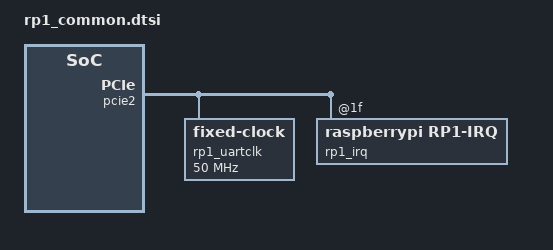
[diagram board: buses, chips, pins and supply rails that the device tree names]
/*
 * Copyright The Zephyr Project Contributors
 *
 * SPDX-License-Identifier: Apache-2.0
 */

#include <zephyr/dt-bindings/interrupt-controller/rp1-irq.h>

&pcie2 {
	rp1 {
		#address-cells = <2>;
		#size-cells = <1>;

		rp1_uartclk: uartclk {
			compatible = "fixed-clock";
			clock-frequency = <50000000>;
			#clock-cells = <0>;
		};

		rp1_irq: interrupt-controller@1f00108000 {
			compatible = "raspberrypi,rp1-irq";
			reg = <0x1f 0x108000 0x1000>;
			interrupt-controller;
			#interrupt-cells = <3>;
			msi-parent = <&mip0>;
		};

		rp1_pinctrl: pinctrl@1f000d0000 {
			compatible = "raspberrypi,rp1-pinctrl";
			reg = <0x1f 0xd0000 0x128>,
			      <0x1f 0xf0004 0x70>;
			reg-names = "gpio", "pads";
			#address-cells = <1>;
			#size-cells = <0>;
			status = "okay";

			gpio0_0: gpio@0 {
				compatible = "raspberrypi,rp1-gpio";
				reg = <0x0 0x10000 0x20000>;
				#gpio-cells = <2>;
				gpio-controller;
				ngpios = <28>;
				status = "disabled";
			};

			gpio0_1: gpio@4000 {
				compatible = "raspberrypi,rp1-gpio";
				reg = <0x4000 0x14000 0x24000>;
				#gpio-cells = <2>;
				gpio-controller;
				ngpios = <6>;
				status = "disabled";
			};

			gpio0_2: gpio@8000 {
				compatible = "raspberrypi,rp1-gpio";
				reg = <0x8000 0x18000 0x28000>;
				#gpio-cells = <2>;
				gpio-controller;
				ngpios = <20>;
				status = "disabled";
			};
		};

		rp1_uart0: serial@1f00030000 {
			compatible = "arm,pl011";
			reg = <0x1f 0x30000 0x100>;
			interrupt-parent = <&rp1_irq>;
			interrupts = <RP1_IRQ_UART0 IRQ_TYPE_LEVEL 0>;
			interrupt-names = "irq_25";
			clocks = <&rp1_uartclk>;
			clock-names = "uartclk";
			status = "disabled";
		};

		rp1_uart1: serial@1f00034000 {
			compatible = "arm,pl011";
			reg = <0x1f 0x34000 0x100>;
			interrupt-parent = <&rp1_irq>;
			interrupts = <RP1_IRQ_UART1 IRQ_TYPE_LEVEL 0>;
			interrupt-names = "irq_42";
			clocks = <&rp1_uartclk>;
			clock-names = "uartclk";
			status = "disabled";
		};

		rp1_uart2: serial@1f00038000 {
			compatible = "arm,pl011";
			reg = <0x1f 0x38000 0x100>;
			interrupt-parent = <&rp1_irq>;
			interrupts = <RP1_IRQ_UART2 IRQ_TYPE_LEVEL 0>;
			interrupt-names = "irq_43";
			clocks = <&rp1_uartclk>;
			clock-names = "uartclk";
			status = "disabled";
		};

		rp1_uart3: serial@1f0003c000 {
			compatible = "arm,pl011";
			reg = <0x1f 0x3c000 0x100>;
			interrupt-parent = <&rp1_irq>;
			interrupts = <RP1_IRQ_UART3 IRQ_TYPE_LEVEL 0>;
			interrupt-names = "irq_44";
			clocks = <&rp1_uartclk>;
			clock-names = "uartclk";
			status = "disabled";
		};

		rp1_uart4: serial@1f00040000 {
			compatible = "arm,pl011";
			reg = <0x1f 0x40000 0x100>;
			interrupt-parent = <&rp1_irq>;
			interrupts = <RP1_IRQ_UART4 IRQ_TYPE_LEVEL 0>;
			interrupt-names = "irq_45";
			clocks = <&rp1_uartclk>;
			clock-names = "uartclk";
			status = "disabled";
		};
	};
};
